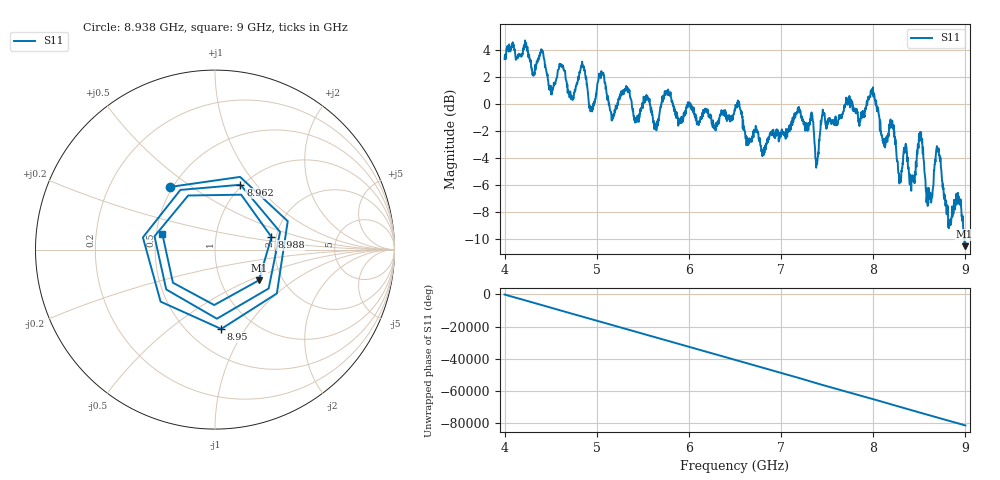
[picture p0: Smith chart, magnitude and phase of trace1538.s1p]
! Created with skrf 1.8.0 (http://scikit-rf.org).
# Hz S RI R 50.0
!freq ReS11 ImS11
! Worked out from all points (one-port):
!   1601 points, 4 GHz to 9 GHz, reference 50 ohm
!   lowest |S11| = -10.5 dB at 8.991 GHz (marker M1), VSWR 1.85, Z = 75.8 - j28.5 ohm
!   |S11| at or under -10 dB: 8.98875 GHz to end of sweep
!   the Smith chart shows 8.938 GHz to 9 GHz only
!   S11 on the Smith chart (normalised r, x): 8.938 GHz: 0.48, +0.41; 8.95 GHz: 0.71, -0.78; 8.962 GHz: 0.98, +0.83; 8.988 GHz: 1.89, +0.30; 9 GHz: 0.54, +0.10
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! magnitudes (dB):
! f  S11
! 4 GHz  3.4
! 4.625 GHz  2.9
! 4.85 GHz  2.8
! 4.941 GHz  -0.4
! 5.05 GHz  2.5
! 5.25 GHz  0.6
! 5.875 GHz  -1.0
! 6.5 GHz  -0.5
! 6.806 GHz  -3.7
! 7.125 GHz  -1.0
! 7.331 GHz  -0.6
! 7.391 GHz  -4.4
! 7.453 GHz  -0.4
! 7.75 GHz  -0.2
! 7.997 GHz  1.3
! 8.284 GHz  -5.9
! 8.375 GHz  -4.4
! 8.434 GHz  -5.7
! 8.516 GHz  -2.2
! 8.616 GHz  -7.0
! 8.706 GHz  -3.5
! 8.822 GHz  -9.2
! 8.938 GHz  -7.3
! 8.95 GHz  -7.1
! 8.962 GHz  -8.2
! 8.988 GHz  -9.8
! 8.991 GHz  -10.5
! 9 GHz  -10.3
